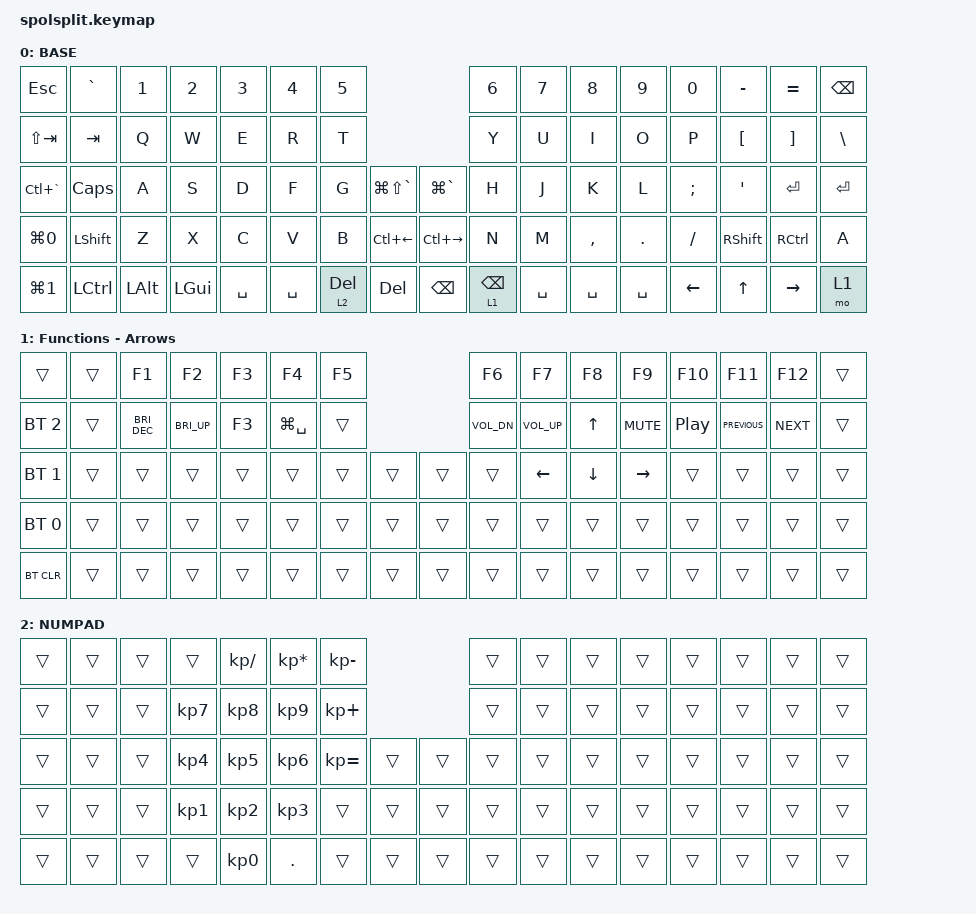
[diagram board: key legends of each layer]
#include <behaviors.dtsi>
#include <dt-bindings/zmk/keys.h>
#include <dt-bindings/zmk/bt.h>
#include <dt-bindings/zmk/ext_power.h>



/ {
    keymap {
        compatible = "zmk,keymap";

        default_layer {
                display-name = "BASE";
// -------------------------------------------------------------------------------------------------------------------------------------------------------------------
// |   ESC   |    `    |    1    |    2    |    3    |    4    |    5    |                                |    6    |    7    |    8    |    9    |    0    |    -    |    =    |   BSPC  |
// |   M1    |   TAB   |    Q    |    W    |    E    |    R    |    T    |                                |    Y    |    U    |    I    |    O    |    P    |    [    |    ]    |    \    |
// |   M2    |  CAPS   |    A    |    S    |    D    |    F    |    G    |   SPACE |            |   SPACE |    H    |    J    |    K    |    L    |    ;    |    '    | RETURN  | RETURN  |
// |   M3    |  SHIFT  |    Z    |    X    |    C    |    V    |    B    |   SPACE |            | CTRL+V  |    N    |    M    |    ,    |    .    |    /    |  SHIFT  |  R CTRL |   M4    |
// |   M5    |  R ALT  |   GUI   |   CMD   | ESCAPE  |   SPACE |   SPACE |   F3    |            |   GUI   |   DEL   |  SPACE  |   SPACE |  SCAPE  |  RETURN |  SPACE  |   TAB   |   M6    |
            bindings = <
    &kp ESC       &kp GRAVE  &kp N1   &kp N2    &kp N3    &kp N4    &kp N5                                       &kp N6       &kp N7    &kp N8    &kp N9    &kp N0    &kp MINUS  &kp EQUAL   &kp BSPC
    &kp LS(TAB)   &kp TAB    &kp Q    &kp W     &kp E     &kp R     &kp T                                        &kp Y        &kp U     &kp I     &kp O     &kp P     &kp LBKT   &kp RBKT    &kp BSLH
    &kp LC(GRAVE) &kp CAPS   &kp A    &kp S     &kp D     &kp F     &kp G       &kp LG(LS(GRAVE))  &kp LG(GRAVE) &kp H        &kp J     &kp K     &kp L     &kp SEMI  &kp SQT    &kp RET     &kp RET
    &kp LG(N0)    &kp LSHIFT &kp Z    &kp X     &kp C     &kp V     &kp B       &kp LC(LEFT)       &kp LC(RIGHT) &kp N        &kp M     &kp COMMA &kp DOT   &kp FSLH  &kp RSHIFT &kp RCTRL   &kp A
    &kp LG(N1)    &kp LCTRL  &kp LALT &kp LGUI  &kp SPACE &kp SPACE &lt 2 DEL   &kp DEL            &kp BSPC      &lt 1 BSPC  &kp SPACE &kp SPACE &kp SPACE &kp LEFT  &kp UP     &kp RIGHT   &mo 1
            >;

           // sensor-bindings = <&inc_dec_kp C_VOL_UP C_VOL_DN &inc_dec_kp PG_UP PG_DN>;
        };

        functions_media_arrows_layer {
                display-name = "Functions - Arrows";
// --------------------------------------------------------------------------------------------------------------------------------------------------------------------
// |   ESC   |    `    |    1    |    2    |    3    |    4    |    5    |                                |    6    |    7    |    8    |    9    |    0    |    -    |    =    |   BSPC  |
// |   M1    |   TAB   |    Q    |    W    |    E    |    R    |    T    |                                |    Y    |    U    |    I    |    O    |    P    |    [    |    ]    |    \    |
// |   M2    |  CAPS   |    A    |    S    |    D    |    F    |    G    |   SPACE |            |   SPACE |    H    |    J    |    K    |    L    |    ;    |    '    | RETURN  | RETURN  |
// |   M3    |  SHIFT  |    Z    |    X    |    C    |    V    |    B    |   SPACE |            | CTRL+V  |    N    |    M    |    ,    |    .    |    /    |  SHIFT  |  R CTRL |   M4    |
// |   M5    |  R ALT  |   GUI   |   CMD   | ESCAPE  |   SPACE |   SPACE |   F3    |            |   GUI   |   DEL   |  SPACE  |   SPACE |  SCAPE  |  RETURN |  SPACE  |   TAB   |   M6    |
            bindings = <
    &trans        &trans  &kp F1          &kp F2         &kp F3     &kp F4         &kp F5                                    &kp F6        &kp F7        &kp F8      &kp F9       &kp F10           &kp F11          &kp F12     &trans
    &bt BT_SEL 2  &trans  &kp C_BRI_DEC   &kp C_BRI_UP   &kp F3     &kp LG(SPACE)  &trans                                    &kp C_VOL_DN  &kp C_VOL_UP  &kp UP      &kp C_MUTE   &kp C_PLAY_PAUSE  &kp C_PREVIOUS   &kp C_NEXT  &trans
    &bt BT_SEL 1  &trans  &trans          &trans         &trans     &trans         &trans  &trans                    &trans  &trans        &kp LEFT      &kp DOWN    &kp RIGHT    &trans            &trans           &trans      &trans
    &bt BT_SEL 0  &trans  &trans          &trans         &trans     &trans         &trans  &trans                    &trans  &trans        &trans        &trans      &trans       &trans            &trans           &trans      &trans
    &bt BT_CLR    &trans  &trans          &trans         &trans     &trans         &trans  &trans                    &trans  &trans        &trans        &trans      &trans       &trans            &trans           &trans      &trans
            >;

           // sensor-bindings = <&inc_dec_kp C_VOL_UP C_VOL_DN &inc_dec_kp PG_UP PG_DN>;
        };

        numpad_layer {
                display-name = "NUMPAD";
// --------------------------------------------------------------------------------------------------------------------------------------------------------------------
// |   ESC   |    `    |    1    |    2    |    3    |    4    |    5    |                                |    6    |    7    |    8    |    9    |    0    |    -    |    =    |   BSPC  |
// |   M1    |   TAB   |    Q    |    W    |    E    |    R    |    T    |                                |    Y    |    U    |    I    |    O    |    P    |    [    |    ]    |    \    |
// |   M2    |  CAPS   |    A    |    S    |    D    |    F    |    G    |   SPACE |            |   SPACE |    H    |    J    |    K    |    L    |    ;    |    '    | RETURN  | RETURN  |
// |   M3    |  SHIFT  |    Z    |    X    |    C    |    V    |    B    |   SPACE |            | CTRL+V  |    N    |    M    |    ,    |    .    |    /    |  SHIFT  |  R CTRL |   M4    |
// |   M5    |  R ALT  |   GUI   |   CMD   | ESCAPE  |   SPACE |   SPACE |   F3    |            |   GUI   |   DEL   |  SPACE  |   SPACE |  SCAPE  |  RETURN |  SPACE  |   TAB   |   M6    |
            bindings = <
    &trans   &trans  &trans  &trans     &kp KP_SLASH  &kp KP_ASTERISK  &kp KP_MINUS                        &trans  &trans  &trans  &trans  &trans  &trans  &trans  &trans
    &trans   &trans  &trans  &kp KP_N7  &kp KP_N8     &kp KP_N9        &kp KP_PLUS                         &trans  &trans  &trans  &trans  &trans  &trans  &trans  &trans
    &trans   &trans  &trans  &kp KP_N4  &kp KP_N5     &kp KP_N6        &kp KP_EQUAL &trans         &trans  &trans  &trans  &trans  &trans  &trans  &trans  &trans  &trans
    &trans   &trans  &trans  &kp KP_N1  &kp KP_N2     &kp KP_N3        &trans       &trans         &trans  &trans  &trans  &trans  &trans  &trans  &trans  &trans  &trans
    &trans   &trans  &trans  &trans     &kp KP_N0     &kp DOT          &trans       &trans         &trans  &trans  &trans  &trans  &trans  &trans  &trans  &trans  &trans
            >;

           // sensor-bindings = <&inc_dec_kp C_VOL_UP C_VOL_DN &inc_dec_kp PG_UP PG_DN>;
        };
        
        extra1 {
            status = "reserved";
        };

        extra2 {
            status = "reserved";
        };

        extra3 {
            status = "reserved";
        };

        extra4 {
            status = "reserved";
        };

        extra5 {
            status = "reserved";
        };

        extra6 {
            status = "reserved";
        };

        extra7 {
            status = "reserved";
        };

    };
};
